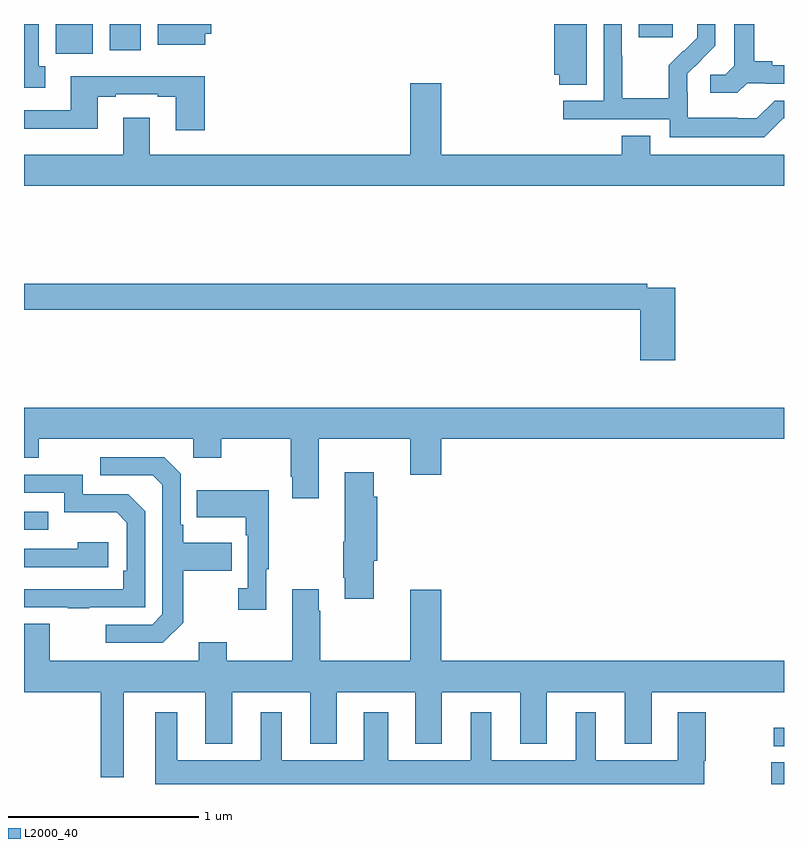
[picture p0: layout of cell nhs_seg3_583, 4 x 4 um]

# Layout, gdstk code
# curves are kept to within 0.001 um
import gdstk
lib = gdstk.Library(unit=1e-6, precision=1e-09)
def R(c, l, rs):  # rectangles x0, y0, x1, y1
    for r in rs: c.add(gdstk.rectangle(r[:2], r[2:], *l))
def P(c, l, *ps):  # polygons
    for p in ps: c.add(gdstk.Polygon(p, *l))
L2000_40 = (2000, 40)

nhs_seg3_583 = lib.new_cell('nhs_seg3_583')
R(nhs_seg3_583, L2000_40, [(142.933,732.4,143,732.515), (142.947,732.6,143,732.696), (139,733.737,139.127,733.833), (139.166,736.244,139.363,736.4), (139.451,736.262,139.615,736.4), (142.235,736.329,142.414,736.4)])
P(nhs_seg3_583, L2000_40, [(139.111,736.178),(139.078,736.178),(139.078,736.4),(139,736.4),(139,736.065),(139.111,736.065)],
  [(142.806,736.089),(142.9,736.089),(142.9,736.086),(143,736.086),(143,736.182),(142.939,736.182),(142.939,736.205),(142.843,736.205),(142.843,736.4),(142.739,736.4),(142.739,736.181),(142.692,736.134),(142.611,736.134),(142.611,736.037),(142.754,736.037)],
  [(142.995,735.903),(143,735.903),(143,735.996),(142.95,735.996),(142.857,735.903),(142.757,735.903),(142.757,735.907),(142.494,735.907),(142.494,736.041),(142.492,736.041),(142.492,736.138),(142.638,736.286),(142.638,736.4),(142.544,736.4),(142.544,736.328),(142.473,736.257),(142.47,736.26),(142.393,736.183),(142.393,736.009),(142.149,736.009),(142.149,736.232),(142.146,736.232),(142.146,736.4),(142.05,736.4),(142.05,735.996),(141.837,735.996),(141.837,735.9),(142.398,735.9),(142.398,735.803),(142.895,735.803)],
  [(141.961,736.4),(141.791,736.4),(141.791,736.134),(141.818,736.134),(141.818,736.081),(141.961,736.081)],
  [(139.954,736.35),(139.985,736.35),(139.985,736.4),(139.703,736.4),(139.703,736.292),(139.954,736.292)],
  [(139.952,736.126),(139.247,736.126),(139.247,735.945),(139,735.945),(139,735.848),(139.387,735.848),(139.387,736.017),(139.483,736.017),(139.483,736.029),(139.703,736.029),(139.703,736.017),(139.799,736.017),(139.799,735.84),(139.952,735.84)],
  [(143,735.712),(142.297,735.712),(142.297,735.811),(142.145,735.811),(142.145,735.712),(141.196,735.712),(141.196,736.087),(141.032,736.087),(141.032,735.712),(139.663,735.712),(139.663,735.907),(139.523,735.907),(139.523,735.712),(139,735.712),(139,735.548),(143,735.548)],
  [(142.427,735.012),(142.28,735.012),(142.28,735.032),(139,735.032),(139,734.896),(142.244,734.896),(142.244,734.631),(142.427,734.631)],
  [(140.551,734.216),(141.032,734.216),(141.032,734.028),(141.196,734.028),(141.196,734.216),(143,734.216),(143,734.38),(139,734.38),(139,734.117),(139.077,734.117),(139.077,734.216),(139.89,734.216),(139.89,734.117),(140.037,734.117),(140.037,734.216),(140.404,734.216),(140.404,734.017),(140.411,734.017),(140.411,733.905),(140.551,733.905)],
  [(139.837,733.249),(139.837,733.522),(140.093,733.522),(140.093,733.669),(139.837,733.669),(139.837,733.765),(139.824,733.765),(139.824,734.034),(139.737,734.121),(139.401,734.121),(139.401,734.025),(139.677,734.025),(139.728,733.974),(139.728,733.293),(139.674,733.239),(139.431,733.239),(139.431,733.143),(139.731,733.143)],
  [(140.842,733.575),(140.86,733.575),(140.86,733.911),(140.842,733.911),(140.842,734.041),(140.687,734.041),(140.687,733.675),(140.68,733.675),(140.68,733.486),(140.687,733.486),(140.687,733.374),(140.842,733.374)],
  [(139.343,733.329),(139.638,733.329),(139.638,733.836),(139.548,733.926),(139.308,733.926),(139.308,734.028),(139,734.028),(139,733.932),(139.212,733.932),(139.212,733.829),(139.489,733.829),(139.542,733.776),(139.542,733.522),(139.522,733.522),(139.522,733.425),(139,733.425),(139,733.329),(139.231,733.329),(139.231,733.324),(139.343,733.324)],
  [(140.275,733.529),(140.287,733.529),(140.287,733.945),(139.909,733.945),(139.909,733.805),(140.166,733.805),(140.166,733.709),(140.178,733.709),(140.178,733.43),(140.127,733.43),(140.127,733.317),(140.275,733.317)],
  [(139.444,733.672),(139.283,733.672),(139.283,733.638),(139,733.638),(139,733.542),(139.444,733.542)],
  [(139.525,732.884),(139.955,732.884),(139.955,732.611),(140.095,732.611),(140.095,732.884),(140.507,732.884),(140.507,732.611),(140.647,732.611),(140.647,732.884),(141.059,732.884),(141.059,732.611),(141.199,732.611),(141.199,732.884),(141.611,732.884),(141.611,732.611),(141.751,732.611),(141.751,732.884),(142.163,732.884),(142.163,732.611),(142.303,732.611),(142.303,732.884),(143,732.884),(143,733.048),(141.196,733.048),(141.196,733.423),(141.032,733.423),(141.032,733.048),(140.559,733.048),(140.559,733.313),(140.551,733.313),(140.551,733.426),(140.411,733.426),(140.411,733.048),(140.067,733.048),(140.067,733.147),(139.919,733.147),(139.919,733.048),(139.135,733.048),(139.135,733.243),(139,733.243),(139,732.884),(139.404,732.884),(139.404,732.435),(139.525,732.435)],
  [(142.579,732.522),(142.587,732.522),(142.587,732.778),(142.442,732.778),(142.442,732.526),(142.009,732.526),(142.009,732.778),(141.905,732.778),(141.905,732.526),(141.46,732.526),(141.46,732.778),(141.35,732.778),(141.35,732.526),(140.917,732.526),(140.917,732.778),(140.789,732.778),(140.789,732.526),(140.356,732.526),(140.356,732.778),(140.246,732.778),(140.246,732.526),(139.807,732.526),(139.807,732.778),(139.691,732.778),(139.691,732.4),(142.579,732.4)])

lib.write_gds('nhs_seg3_583.gds')
